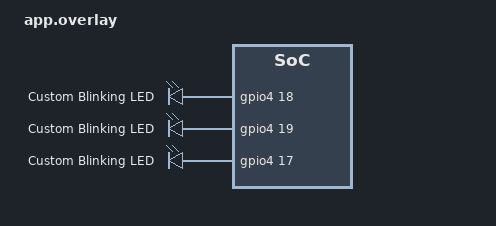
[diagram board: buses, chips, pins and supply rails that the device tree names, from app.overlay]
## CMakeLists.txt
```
cmake_minimum_required(VERSION 3.20.0)

find_package(Zephyr REQUIRED)

project(blink)

target_sources(app PRIVATE src/main.cpp)
```

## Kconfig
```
mainmenu "FRDM-MCXN236 Custom Blink App"

source "Kconfig.zephyr"

config APP_BLINK_DELAY_MS
    int "LED Blink delay in milliseconds"
    default 200
    help
      Time in milliseconds between LED state toggles.
```

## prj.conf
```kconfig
CONFIG_GPIO=y
CONFIG_APP_BLINK_DELAY_MS=1000
```

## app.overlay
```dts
/ {
    aliases {
        red-led = &board_red_led;
        green-led = &board_green_led;
        blue-led = &board_blue_led;
    };

    leds {
        compatible = "gpio-leds";
        
        board_red_led: led_0 {
            gpios = <&gpio4 18 GPIO_ACTIVE_HIGH>; 
            label = "Custom Blinking LED";
        };

        board_green_led: led_1 {
            gpios = <&gpio4 19 GPIO_ACTIVE_HIGH>; 
            label = "Custom Blinking LED";
        };

        board_blue_led: led_2 {
            gpios = <&gpio4 17 GPIO_ACTIVE_HIGH>; 
            label = "Custom Blinking LED";
        };
    };
};
```

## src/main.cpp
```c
#include <zephyr/kernel.h>
#include <zephyr/drivers/gpio.h>

/* Extract the device tree node using the alias defined in app.overlay */
#define RED_LED DT_ALIAS(red_led)
#define GREEN_LED DT_ALIAS(green_led)
#define BLUE_LED DT_ALIAS(blue_led)

/* Validate that the node exists at build time */
#if ((!DT_NODE_HAS_STATUS(RED_LED, okay)) && !DT_NODE_HAS_STATUS(GREEN_LED, okay) && !DT_NODE_HAS_STATUS(BLUE_LED, okay))
#error "Unsupported board: my-led devicetree alias is not defined or enabled"
#endif

/* Initialize the GPIO specification structure */
static const struct gpio_dt_spec red_led = GPIO_DT_SPEC_GET(RED_LED, gpios);
static const struct gpio_dt_spec green_led = GPIO_DT_SPEC_GET(GREEN_LED, gpios);
static const struct gpio_dt_spec blue_led = GPIO_DT_SPEC_GET(BLUE_LED, gpios);

/* Map the Kconfig variable to our C code */
#define SLEEP_TIME_MS CONFIG_APP_BLINK_DELAY_MS

int main(void)
{
    int ret;

    /* Verify the GPIO port is ready before interacting with it */
    if (!gpio_is_ready_dt(&red_led)) {
        return 0;
    }

    /* Configure the pin as an output */
    gpio_pin_configure_dt(&red_led, GPIO_OUTPUT_ACTIVE);
    gpio_pin_configure_dt(&green_led, GPIO_OUTPUT_ACTIVE);
    gpio_pin_configure_dt(&blue_led, GPIO_OUTPUT_ACTIVE);

    /* Infinite blink loop */
    while (1) {
        gpio_pin_toggle_dt(&red_led);
        
        k_msleep(SLEEP_TIME_MS);

        gpio_pin_toggle_dt(&green_led);
    
        k_msleep(SLEEP_TIME_MS);

        gpio_pin_toggle_dt(&blue_led);
        
        k_msleep(SLEEP_TIME_MS);

    }
    
    return 0;
}
```
